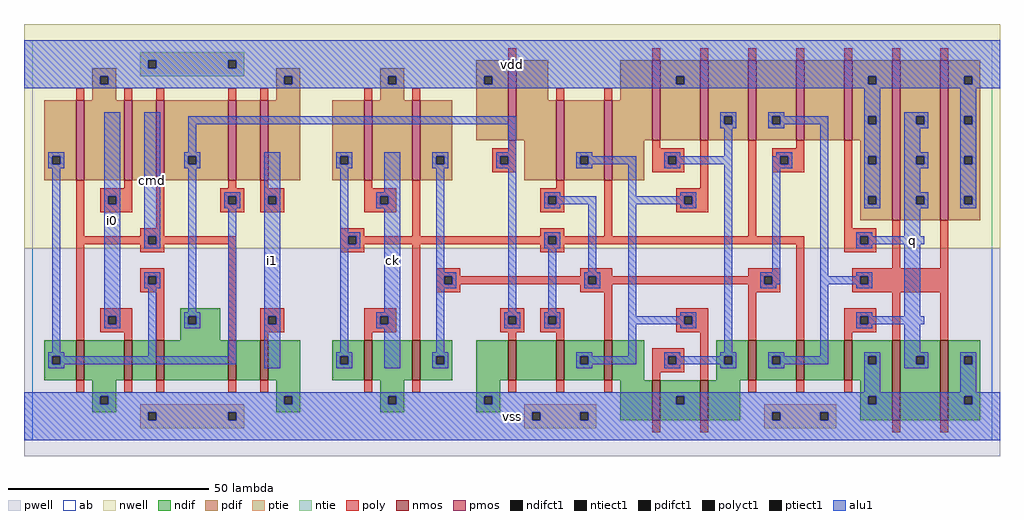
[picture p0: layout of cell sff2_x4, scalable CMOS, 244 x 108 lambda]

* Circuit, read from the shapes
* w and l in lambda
.subckt sff2_x4 ck cmd i0 i1 q vdd vss
M1 vss cmd n1 vss nfet w=10 l=2
M2 n2 i0 vss vss nfet w=10 l=2
M3 n3 n1 n2 vss nfet w=10 l=2
M4 n4 cmd n3 vss nfet w=10 l=2
M5 vss i1 n4 vss nfet w=10 l=2
M6 vss ck n5 vss nfet w=10 l=2
M7 n6 n5 vss vss nfet w=10 l=2
M8 n7 n3 vss vss nfet w=10 l=2
M9 n8 n5 n7 vss nfet w=10 l=2
M10 n9 n6 n8 vss nfet w=10 l=2
M11 vss n10 n9 vss nfet w=10 l=2
M12 n10 n8 vss vss nfet w=10 l=2
M13 n11 n6 n10 vss nfet w=10 l=2
M14 n12 n5 n11 vss nfet w=10 l=2
M15 vss q n12 vss nfet w=10 l=2
M16 q n11 vss vss nfet w=20 l=2 m=2
M17 vdd cmd n1 vdd pfet w=20 l=2
M18 n13 i0 vdd vdd pfet w=20 l=2
M19 n3 cmd n13 vdd pfet w=20 l=2
M20 n14 n1 n3 vdd pfet w=20 l=2
M21 vdd i1 n14 vdd pfet w=20 l=2
M22 vdd ck n5 vdd pfet w=20 l=2
M23 n6 n5 vdd vdd pfet w=20 l=2
M24 n15 n3 vdd vdd pfet w=20 l=2
M25 n8 n6 n15 vdd pfet w=20 l=2
M26 n16 n5 n8 vdd pfet w=20 l=2
M27 vdd n10 n16 vdd pfet w=20 l=2
M28 n10 n8 vdd vdd pfet w=20 l=2
M29 n11 n5 n10 vdd pfet w=20 l=2
M30 n17 n6 n11 vdd pfet w=20 l=2
M31 vdd q n17 vdd pfet w=20 l=2
M32 q n11 vdd vdd pfet w=40 l=2 m=2
.ends

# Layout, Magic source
magic
tech scmos
<< ab >>
rect 0 0 240 100
<< nwell >>
rect -2 48 242 104
<< pwell >>
rect -2 -4 242 48
<< poly >>
rect 119 95 121 98
rect 155 95 157 98
rect 167 95 169 98
rect 179 95 181 98
rect 191 95 193 98
rect 203 95 205 98
rect 215 95 217 98
rect 227 95 229 98
rect 11 85 13 88
rect 23 85 25 88
rect 31 85 33 88
rect 49 85 51 88
rect 57 85 59 88
rect 83 85 85 88
rect 95 85 97 88
rect 131 85 133 88
rect 143 85 145 88
rect 119 73 121 75
rect 115 71 121 73
rect 115 69 117 71
rect 119 69 121 71
rect 115 67 121 69
rect 155 73 157 75
rect 155 71 163 73
rect 155 69 159 71
rect 161 69 163 71
rect 155 67 163 69
rect 11 51 13 65
rect 23 63 25 65
rect 17 61 25 63
rect 17 59 19 61
rect 21 59 25 61
rect 17 57 25 59
rect 31 53 33 65
rect 49 63 51 65
rect 57 63 59 65
rect 83 63 85 65
rect 47 61 53 63
rect 47 59 49 61
rect 51 59 53 61
rect 47 57 53 59
rect 57 61 63 63
rect 57 59 59 61
rect 61 59 63 61
rect 57 57 63 59
rect 83 61 91 63
rect 83 59 87 61
rect 89 59 91 61
rect 83 57 91 59
rect 27 51 33 53
rect 77 51 83 53
rect 95 51 97 65
rect 131 63 133 65
rect 127 61 133 63
rect 127 59 129 61
rect 131 59 133 61
rect 127 57 133 59
rect 127 51 133 53
rect 143 51 145 65
rect 167 63 169 75
rect 161 61 169 63
rect 161 59 163 61
rect 165 59 169 61
rect 161 57 169 59
rect 179 51 181 75
rect 191 73 193 75
rect 185 71 193 73
rect 185 69 187 71
rect 189 69 193 71
rect 185 67 193 69
rect 203 53 205 75
rect 203 51 211 53
rect 11 49 29 51
rect 31 49 51 51
rect 11 25 13 49
rect 27 47 33 49
rect 27 41 33 43
rect 27 39 29 41
rect 31 39 33 41
rect 27 37 33 39
rect 17 31 25 33
rect 17 29 19 31
rect 21 29 25 31
rect 17 27 25 29
rect 23 25 25 27
rect 31 25 33 37
rect 49 25 51 49
rect 77 49 79 51
rect 81 49 129 51
rect 131 49 193 51
rect 77 47 83 49
rect 57 31 63 33
rect 57 29 59 31
rect 61 29 63 31
rect 57 27 63 29
rect 83 31 91 33
rect 83 29 87 31
rect 89 29 91 31
rect 83 27 91 29
rect 57 25 59 27
rect 83 25 85 27
rect 95 25 97 49
rect 127 47 133 49
rect 101 41 107 43
rect 137 41 145 43
rect 179 41 187 43
rect 101 39 103 41
rect 105 39 139 41
rect 141 39 183 41
rect 185 39 187 41
rect 101 37 107 39
rect 137 37 145 39
rect 117 31 123 33
rect 117 29 119 31
rect 121 29 123 31
rect 117 27 123 29
rect 127 31 133 33
rect 127 29 129 31
rect 131 29 133 31
rect 127 27 133 29
rect 119 25 121 27
rect 131 25 133 27
rect 143 25 145 37
rect 179 37 187 39
rect 161 31 169 33
rect 161 29 163 31
rect 165 29 169 31
rect 161 27 169 29
rect 155 21 163 23
rect 155 19 159 21
rect 161 19 163 21
rect 155 17 163 19
rect 155 15 157 17
rect 167 15 169 27
rect 179 25 181 37
rect 191 25 193 49
rect 203 49 207 51
rect 209 49 211 51
rect 203 47 211 49
rect 215 43 217 55
rect 227 43 229 55
rect 205 41 229 43
rect 205 39 207 41
rect 209 39 229 41
rect 205 37 229 39
rect 203 31 211 33
rect 203 29 207 31
rect 209 29 211 31
rect 203 27 211 29
rect 203 25 205 27
rect 215 25 217 37
rect 227 25 229 37
rect 11 12 13 15
rect 23 12 25 15
rect 31 12 33 15
rect 49 12 51 15
rect 57 12 59 15
rect 83 12 85 15
rect 95 12 97 15
rect 119 12 121 15
rect 131 12 133 15
rect 143 12 145 15
rect 179 12 181 15
rect 191 12 193 15
rect 203 12 205 15
rect 155 2 157 5
rect 167 2 169 5
rect 215 2 217 5
rect 227 2 229 5
<< ndif >>
rect 37 31 47 33
rect 37 29 39 31
rect 41 29 47 31
rect 37 25 47 29
rect 3 21 11 25
rect 3 19 5 21
rect 7 19 11 21
rect 3 15 11 19
rect 13 15 23 25
rect 25 15 31 25
rect 33 15 49 25
rect 51 15 57 25
rect 59 15 67 25
rect 75 21 83 25
rect 75 19 77 21
rect 79 19 83 21
rect 75 15 83 19
rect 85 15 95 25
rect 97 21 105 25
rect 97 19 101 21
rect 103 19 105 21
rect 97 15 105 19
rect 111 15 119 25
rect 121 15 131 25
rect 133 21 143 25
rect 133 19 137 21
rect 139 19 143 21
rect 133 15 143 19
rect 145 15 153 25
rect 171 21 179 25
rect 171 19 173 21
rect 175 19 179 21
rect 171 15 179 19
rect 181 21 191 25
rect 181 19 185 21
rect 187 19 191 21
rect 181 15 191 19
rect 193 15 203 25
rect 205 21 215 25
rect 205 19 209 21
rect 211 19 215 21
rect 205 15 215 19
rect 15 11 21 15
rect 15 9 17 11
rect 19 9 21 11
rect 61 11 67 15
rect 61 9 63 11
rect 65 9 67 11
rect 15 7 21 9
rect 61 7 67 9
rect 87 11 93 15
rect 87 9 89 11
rect 91 9 93 11
rect 87 7 93 9
rect 111 11 117 15
rect 111 9 113 11
rect 115 9 117 11
rect 111 7 117 9
rect 147 5 155 15
rect 157 11 167 15
rect 157 9 161 11
rect 163 9 167 11
rect 157 5 167 9
rect 169 5 177 15
rect 207 11 215 15
rect 207 9 209 11
rect 211 9 215 11
rect 207 5 215 9
rect 217 21 227 25
rect 217 19 221 21
rect 223 19 227 21
rect 217 5 227 19
rect 229 21 237 25
rect 229 19 233 21
rect 235 19 237 21
rect 229 11 237 19
rect 229 9 233 11
rect 235 9 237 11
rect 229 5 237 9
<< pdif >>
rect 15 91 21 93
rect 61 91 67 93
rect 15 89 17 91
rect 19 89 21 91
rect 15 85 21 89
rect 61 89 63 91
rect 65 89 67 91
rect 61 85 67 89
rect 87 91 93 93
rect 87 89 89 91
rect 91 89 93 91
rect 87 85 93 89
rect 111 91 119 95
rect 111 89 113 91
rect 115 89 119 91
rect 3 71 11 85
rect 3 69 5 71
rect 7 69 11 71
rect 3 65 11 69
rect 13 65 23 85
rect 25 65 31 85
rect 33 71 49 85
rect 33 69 39 71
rect 41 69 49 71
rect 33 65 49 69
rect 51 65 57 85
rect 59 65 67 85
rect 75 71 83 85
rect 75 69 77 71
rect 79 69 83 71
rect 75 65 83 69
rect 85 65 95 85
rect 97 71 105 85
rect 111 75 119 89
rect 121 85 129 95
rect 147 85 155 95
rect 121 75 131 85
rect 97 69 101 71
rect 103 69 105 71
rect 97 65 105 69
rect 123 65 131 75
rect 133 71 143 85
rect 133 69 137 71
rect 139 69 143 71
rect 133 65 143 69
rect 145 75 155 85
rect 157 91 167 95
rect 157 89 161 91
rect 163 89 167 91
rect 157 75 167 89
rect 169 81 179 95
rect 169 79 173 81
rect 175 79 179 81
rect 169 75 179 79
rect 181 81 191 95
rect 181 79 185 81
rect 187 79 191 81
rect 181 75 191 79
rect 193 75 203 95
rect 205 91 215 95
rect 205 89 209 91
rect 211 89 215 91
rect 205 81 215 89
rect 205 79 209 81
rect 211 79 215 81
rect 205 75 215 79
rect 145 65 153 75
rect 207 71 215 75
rect 207 69 209 71
rect 211 69 215 71
rect 207 61 215 69
rect 207 59 209 61
rect 211 59 215 61
rect 207 55 215 59
rect 217 81 227 95
rect 217 79 221 81
rect 223 79 227 81
rect 217 71 227 79
rect 217 69 221 71
rect 223 69 227 71
rect 217 61 227 69
rect 217 59 221 61
rect 223 59 227 61
rect 217 55 227 59
rect 229 91 237 95
rect 229 89 233 91
rect 235 89 237 91
rect 229 81 237 89
rect 229 79 233 81
rect 235 79 237 81
rect 229 71 237 79
rect 229 69 233 71
rect 235 69 237 71
rect 229 61 237 69
rect 229 59 233 61
rect 235 59 237 61
rect 229 55 237 59
<< alu1 >>
rect -2 95 242 100
rect -2 93 29 95
rect 31 93 49 95
rect 51 93 242 95
rect -2 91 242 93
rect -2 89 17 91
rect 19 89 63 91
rect 65 89 89 91
rect 91 89 113 91
rect 115 89 161 91
rect 163 89 209 91
rect 211 89 233 91
rect 235 89 242 91
rect -2 88 242 89
rect 4 71 8 72
rect 4 69 5 71
rect 7 69 8 71
rect 4 68 8 69
rect 5 22 7 68
rect 18 61 22 82
rect 18 59 19 61
rect 21 59 22 61
rect 18 31 22 59
rect 28 51 32 82
rect 172 81 176 82
rect 39 79 121 81
rect 39 72 41 79
rect 119 72 121 79
rect 172 79 173 81
rect 175 79 176 81
rect 172 78 176 79
rect 184 81 188 82
rect 208 81 212 88
rect 184 79 185 81
rect 187 79 199 81
rect 184 78 188 79
rect 38 71 42 72
rect 38 69 39 71
rect 41 69 42 71
rect 38 68 42 69
rect 28 49 29 51
rect 31 49 32 51
rect 28 48 32 49
rect 28 41 32 42
rect 28 39 29 41
rect 31 39 32 41
rect 28 38 32 39
rect 18 29 19 31
rect 21 29 22 31
rect 18 28 22 29
rect 4 21 8 22
rect 29 21 31 38
rect 39 32 41 68
rect 48 61 52 62
rect 48 59 49 61
rect 51 59 52 61
rect 48 58 52 59
rect 58 61 62 72
rect 76 71 80 72
rect 76 69 77 71
rect 79 69 80 71
rect 76 68 80 69
rect 58 59 59 61
rect 61 59 62 61
rect 38 31 42 32
rect 38 29 39 31
rect 41 29 42 31
rect 38 28 42 29
rect 49 21 51 58
rect 4 19 5 21
rect 7 19 51 21
rect 58 31 62 59
rect 58 29 59 31
rect 61 29 62 31
rect 4 18 8 19
rect 58 18 62 29
rect 77 52 79 68
rect 88 62 92 72
rect 100 71 104 72
rect 100 69 101 71
rect 103 69 104 71
rect 100 68 104 69
rect 116 71 121 72
rect 116 69 117 71
rect 119 69 121 71
rect 116 68 121 69
rect 136 71 140 72
rect 158 71 162 72
rect 173 71 175 78
rect 186 71 190 72
rect 136 69 137 71
rect 139 69 151 71
rect 136 68 140 69
rect 86 61 92 62
rect 86 59 87 61
rect 89 59 92 61
rect 86 58 92 59
rect 77 51 82 52
rect 77 49 79 51
rect 81 49 82 51
rect 77 48 82 49
rect 77 22 79 48
rect 88 32 92 58
rect 86 31 92 32
rect 86 29 87 31
rect 89 29 92 31
rect 86 28 92 29
rect 76 21 80 22
rect 76 19 77 21
rect 79 19 80 21
rect 76 18 80 19
rect 88 18 92 28
rect 101 42 103 68
rect 101 41 106 42
rect 101 39 103 41
rect 105 39 106 41
rect 101 38 106 39
rect 101 22 103 38
rect 119 32 121 68
rect 128 61 132 62
rect 149 61 151 69
rect 158 69 159 71
rect 161 69 175 71
rect 158 68 162 69
rect 162 61 166 62
rect 128 59 129 61
rect 131 59 141 61
rect 128 58 132 59
rect 128 51 132 52
rect 128 49 129 51
rect 131 49 132 51
rect 128 48 132 49
rect 129 32 131 48
rect 139 42 141 59
rect 149 59 163 61
rect 165 59 166 61
rect 138 41 142 42
rect 138 39 139 41
rect 141 39 142 41
rect 138 38 142 39
rect 118 31 122 32
rect 118 29 119 31
rect 121 29 122 31
rect 118 28 122 29
rect 128 31 132 32
rect 128 29 129 31
rect 131 29 132 31
rect 128 28 132 29
rect 149 31 151 59
rect 162 58 166 59
rect 162 31 166 32
rect 149 29 163 31
rect 165 29 166 31
rect 100 21 104 22
rect 100 19 101 21
rect 103 19 104 21
rect 100 18 104 19
rect 136 21 140 22
rect 149 21 151 29
rect 162 28 166 29
rect 173 22 175 69
rect 185 69 187 71
rect 189 69 190 71
rect 185 68 190 69
rect 185 42 187 68
rect 182 41 187 42
rect 182 39 183 41
rect 185 39 187 41
rect 197 41 199 79
rect 208 79 209 81
rect 211 79 212 81
rect 208 71 212 79
rect 208 69 209 71
rect 211 69 212 71
rect 208 61 212 69
rect 208 59 209 61
rect 211 59 212 61
rect 208 58 212 59
rect 218 81 224 82
rect 218 79 221 81
rect 223 79 224 81
rect 218 78 224 79
rect 232 81 236 88
rect 232 79 233 81
rect 235 79 236 81
rect 218 72 222 78
rect 218 71 224 72
rect 218 69 221 71
rect 223 69 224 71
rect 218 68 224 69
rect 232 71 236 79
rect 232 69 233 71
rect 235 69 236 71
rect 218 62 222 68
rect 218 61 224 62
rect 218 59 221 61
rect 223 59 224 61
rect 218 58 224 59
rect 232 61 236 69
rect 232 59 233 61
rect 235 59 236 61
rect 232 58 236 59
rect 206 51 210 52
rect 218 51 222 58
rect 206 49 207 51
rect 209 49 223 51
rect 206 48 210 49
rect 206 41 210 42
rect 197 39 207 41
rect 209 39 210 41
rect 182 38 186 39
rect 136 19 137 21
rect 139 19 151 21
rect 158 21 162 22
rect 172 21 176 22
rect 158 19 159 21
rect 161 19 173 21
rect 175 19 176 21
rect 136 18 140 19
rect 158 18 162 19
rect 172 18 176 19
rect 184 21 188 22
rect 197 21 199 39
rect 206 38 210 39
rect 206 31 210 32
rect 218 31 222 49
rect 206 29 207 31
rect 209 29 223 31
rect 206 28 210 29
rect 218 22 222 29
rect 184 19 185 21
rect 187 19 199 21
rect 208 21 212 22
rect 208 19 209 21
rect 211 19 212 21
rect 184 18 188 19
rect 208 12 212 19
rect 218 21 224 22
rect 218 19 221 21
rect 223 19 224 21
rect 218 18 224 19
rect 232 21 236 22
rect 232 19 233 21
rect 235 19 236 21
rect 232 12 236 19
rect -2 11 242 12
rect -2 9 17 11
rect 19 9 63 11
rect 65 9 89 11
rect 91 9 113 11
rect 115 9 161 11
rect 163 9 209 11
rect 211 9 233 11
rect 235 9 242 11
rect -2 7 242 9
rect -2 5 29 7
rect 31 5 49 7
rect 51 5 125 7
rect 127 5 137 7
rect 139 5 185 7
rect 187 5 197 7
rect 199 5 242 7
rect -2 0 242 5
<< ptie >>
rect 27 7 53 9
rect 123 7 141 9
rect 27 5 29 7
rect 31 5 49 7
rect 51 5 53 7
rect 27 3 53 5
rect 123 5 125 7
rect 127 5 137 7
rect 139 5 141 7
rect 183 7 201 9
rect 183 5 185 7
rect 187 5 197 7
rect 199 5 201 7
rect 123 3 141 5
rect 183 3 201 5
<< ntie >>
rect 27 95 53 97
rect 27 93 29 95
rect 31 93 49 95
rect 51 93 53 95
rect 27 91 53 93
<< nmos >>
rect 11 15 13 25
rect 23 15 25 25
rect 31 15 33 25
rect 49 15 51 25
rect 57 15 59 25
rect 83 15 85 25
rect 95 15 97 25
rect 119 15 121 25
rect 131 15 133 25
rect 143 15 145 25
rect 179 15 181 25
rect 191 15 193 25
rect 203 15 205 25
rect 155 5 157 15
rect 167 5 169 15
rect 215 5 217 25
rect 227 5 229 25
<< pmos >>
rect 11 65 13 85
rect 23 65 25 85
rect 31 65 33 85
rect 49 65 51 85
rect 57 65 59 85
rect 83 65 85 85
rect 95 65 97 85
rect 119 75 121 95
rect 131 65 133 85
rect 143 65 145 85
rect 155 75 157 95
rect 167 75 169 95
rect 179 75 181 95
rect 191 75 193 95
rect 203 75 205 95
rect 215 55 217 95
rect 227 55 229 95
<< polyct1 >>
rect 117 69 119 71
rect 159 69 161 71
rect 19 59 21 61
rect 49 59 51 61
rect 59 59 61 61
rect 87 59 89 61
rect 129 59 131 61
rect 163 59 165 61
rect 187 69 189 71
rect 29 49 31 51
rect 29 39 31 41
rect 19 29 21 31
rect 79 49 81 51
rect 129 49 131 51
rect 59 29 61 31
rect 87 29 89 31
rect 103 39 105 41
rect 139 39 141 41
rect 183 39 185 41
rect 119 29 121 31
rect 129 29 131 31
rect 163 29 165 31
rect 159 19 161 21
rect 207 49 209 51
rect 207 39 209 41
rect 207 29 209 31
<< ndifct1 >>
rect 39 29 41 31
rect 5 19 7 21
rect 77 19 79 21
rect 101 19 103 21
rect 137 19 139 21
rect 173 19 175 21
rect 185 19 187 21
rect 209 19 211 21
rect 17 9 19 11
rect 63 9 65 11
rect 89 9 91 11
rect 113 9 115 11
rect 161 9 163 11
rect 209 9 211 11
rect 221 19 223 21
rect 233 19 235 21
rect 233 9 235 11
<< ntiect1 >>
rect 29 93 31 95
rect 49 93 51 95
<< ptiect1 >>
rect 29 5 31 7
rect 49 5 51 7
rect 125 5 127 7
rect 137 5 139 7
rect 185 5 187 7
rect 197 5 199 7
<< pdifct1 >>
rect 17 89 19 91
rect 63 89 65 91
rect 89 89 91 91
rect 113 89 115 91
rect 5 69 7 71
rect 39 69 41 71
rect 77 69 79 71
rect 101 69 103 71
rect 137 69 139 71
rect 161 89 163 91
rect 173 79 175 81
rect 185 79 187 81
rect 209 89 211 91
rect 209 79 211 81
rect 209 69 211 71
rect 209 59 211 61
rect 221 79 223 81
rect 221 69 223 71
rect 221 59 223 61
rect 233 89 235 91
rect 233 79 235 81
rect 233 69 235 71
rect 233 59 235 61
<< labels >>
rlabel alu1 20 55 20 55 6 i0
rlabel alu1 30 65 30 65 6 cmd
rlabel alu1 60 45 60 45 6 i1
rlabel alu1 90 45 90 45 6 ck
rlabel alu1 120 6 120 6 6 vss
rlabel alu1 120 94 120 94 6 vdd
rlabel alu1 220 50 220 50 6 q
<< end >>
